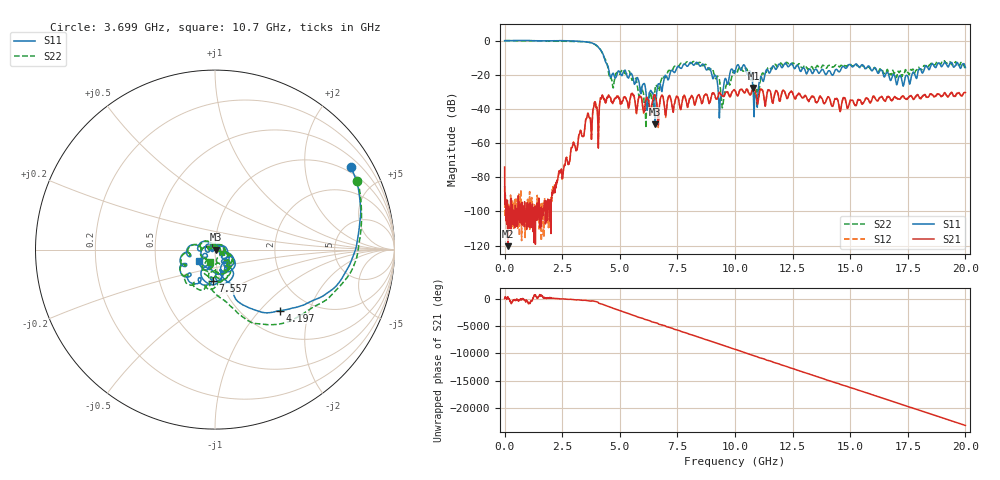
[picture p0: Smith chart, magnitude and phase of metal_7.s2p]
#  HZ  S  RI  R  50.00
! Rohde & Schwarz Vector Network Analyzer
! Rohde-Schwarz,ZNB20-2Port,1311601062102128,3.60
! Created: UTC 4/29/2024, 3:48:49 PM
! freq[Hz]  re:S11  im:S11  re:S21  im:S21  re:S12  im:S12  re:S22  im:S22
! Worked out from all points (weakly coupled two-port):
!   2007 points, 100 kHz to 20 GHz, reference 50 ohm
!   highest |S21| = -27.65 dB at 10.8 GHz (marker M1); lowest = -120.3 dB at 149.7 MHz (marker M2)
!   lowest |S11| = -49.0 dB at 6.53 GHz (marker M3), VSWR 1.01, Z = 50.3 - j0.0926 ohm
!   |S11| at or under -10 dB: 4.327 GHz to end of sweep
!   |S22| runs from -51.1 to 0.1 dB; largest |S21 - S12| = 0.0026
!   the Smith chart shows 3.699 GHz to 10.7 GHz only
!   S11 on the Smith chart (normalised r, x): 3.699 GHz: 0.79, +3.38; 4.197 GHz: 1.44, -1.29; 7.557 GHz: 0.92, -0.33; 10.7 GHz: 0.83, -0.11
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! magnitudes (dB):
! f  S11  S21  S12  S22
! 100 kHz  0.0  -74.0  -85.2  0.1
! 149.7 MHz  0.0  -120.3  -96.0  0.0
! 2.233 GHz  0.0  -86.2  -85.2  -0.3
! 3.34 GHz  -0.6  -55.1  -54.9  -0.6
! 3.699 GHz  -1.1  -45.2  -45.2  -1.1
! 4.197 GHz  -6.1  -33.9  -34.2  -6.1
! 4.646 GHz  -20.6  -35.5  -35.5  -22.9
! 5.394 GHz  -21.5  -38.8  -39.1  -17.8
! 6.132 GHz  -29.8  -34.5  -34.7  -51.1
! 6.53 GHz  -49.0  -31.9  -32.0  -28.6
! 6.67 GHz  -25.4  -49.4  -50.8  -28.0
! 7.557 GHz  -15.1  -34.9  -34.8  -14.9
! 8.883 GHz  -16.0  -36.9  -36.9  -17.0
! 9.372 GHz  -33.6  -31.3  -31.1  -28.6
! 10 GHz  -18.5  -29.3  -29.3  -18.0
! 10.7 GHz  -19.1  -31.1  -31.3  -22.5
! 10.8 GHz  -32.2  -27.7  -27.7  -24.8
! 10.91 GHz  -32.1  -31.1  -31.3  -31.7
! 11.66 GHz  -14.7  -35.8  -36.2  -14.9
! 13.34 GHz  -19.1  -32.6  -32.5  -15.2
! 16.67 GHz  -19.9  -32.9  -32.9  -19.5
! 20 GHz  -15.8  -30.4  -30.5  -14.8
